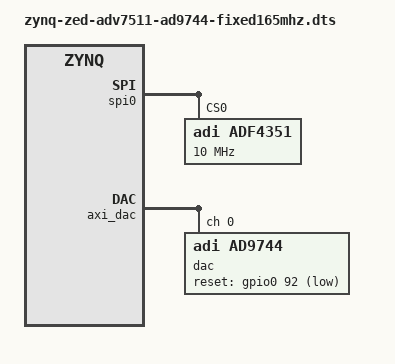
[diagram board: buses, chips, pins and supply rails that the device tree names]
// SPDX-License-Identifier: GPL-2.0
/* Copyright (C) 2025 Analog Devices Inc. */
/*
 * AD9744 Device Tree - Dynamic Clock from ADF4351
 *
 * The ADF4351 PLL registers as a clock provider via #clock-cells.
 * The AXI DAC references it directly, so DDS frequency calculations
 * always use the actual PLL output frequency -- even when changed
 * at runtime via sysfs/IIO.
 */

/dts-v1/;

#include "zynq-zed.dtsi"
#include "zynq-zed-adv7511.dtsi"

/ {

	clocks {
		adf4351_clkin: clock@1 {
			#clock-cells = <0>;
			compatible = "fixed-clock";
			clock-frequency = <10000000>;
			clock-output-names = "refclk";
		};
	};
};

&spi0 {
    status="okay";

   adf4351: adf4351@0 {
      compatible = "adi,adf4351";
      reg = <0>;

      spi-max-frequency = <10000000>;

      clocks = <&adf4351_clkin>;
      clock-names = "clkin";

      /* Register as clock provider so consumers track frequency changes */
      #clock-cells = <0>;
      clock-output-names = "adf4351_clkout";

      adi,channel-spacing = <10000>;
      adi,power-up-frequency = <165000000>;
      adi,phase-detector-polarity-positive-enable;
      adi,charge-pump-current = <2500>;
      adi,output-power = <0>;
      adi,aux-output-enable;
      adi,aux-output-power = <0>;
      adi,muxout-select = <6>;
    };
  };

&fpga_axi {

	dac_tx_dma: dma-controller@44a40000 {
		compatible = "adi,axi-dmac-1.00.a";
		reg = <0x44a40000 0x10000>;
		#dma-cells = <1>;
		interrupt-parent = <&intc>;
		interrupts = <0 57 IRQ_TYPE_LEVEL_HIGH>;
		clocks = <&clkc 15>;

		adi,channels {
			#size-cells = <0>;
			#address-cells = <1>;

			dma-channel@0 {
				reg = <0>;
				adi,source-bus-width = <32>;
				adi,source-bus-type = <0>;
				adi,destination-bus-width = <32>;
				adi,destination-bus-type = <1>;
			};
		};
	};

	axi_dac: axi-ad9740@44a70000 {
		compatible = "adi,axi-ad9740";
		reg = <0x44a70000 0x1000>;
		dmas = <&dac_tx_dma 0>;
		dma-names = "tx";
		#io-backend-cells = <0>;
		/* dac_clk from ADF4351 - tracks actual PLL frequency */
		clocks = <&clkc 15>, <&adf4351>;
		clock-names = "s_axi_aclk", "dac_clk";

		#address-cells = <1>;
		#size-cells = <0>;

		dac@0 {
			reg = <0>;
			compatible = "adi,ad9744";
			reset-gpios = <&gpio0 92 GPIO_ACTIVE_LOW>;
			io-backends = <&axi_dac>;
		};
	};
};
